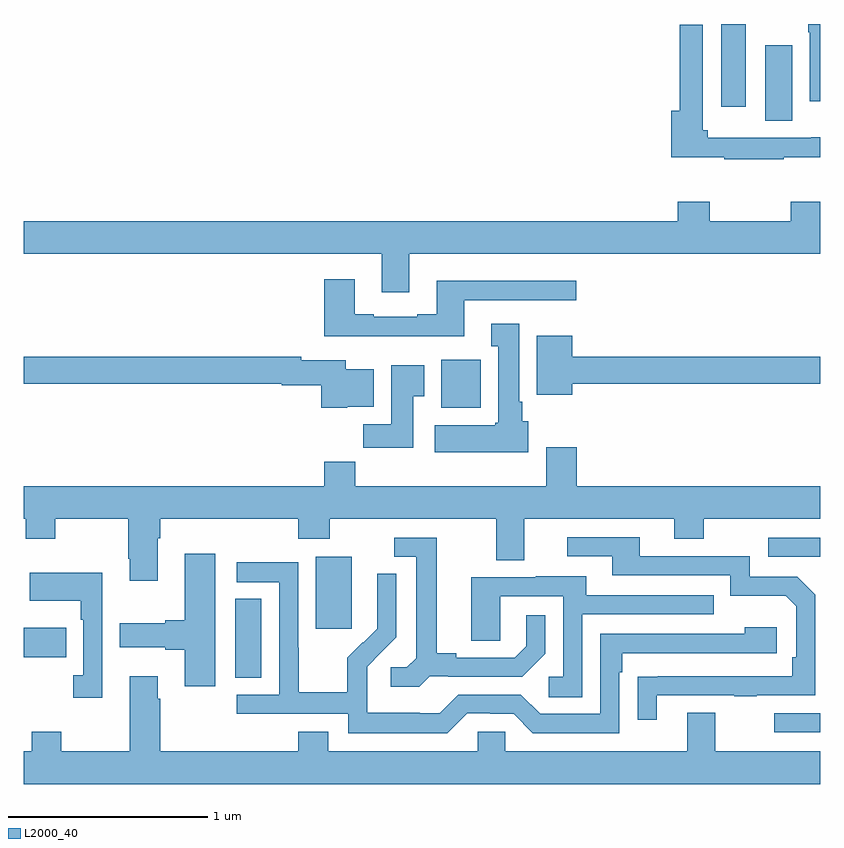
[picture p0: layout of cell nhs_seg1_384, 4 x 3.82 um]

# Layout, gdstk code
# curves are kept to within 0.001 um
import gdstk
lib = gdstk.Library(unit=1e-6, precision=1e-09)
def R(c, l, rs):  # rectangles x0, y0, x1, y1
    for r in rs: c.add(gdstk.rectangle(r[:2], r[2:], *l))
def P(c, l, *ps):  # polygons
    for p in ps: c.add(gdstk.Polygon(p, *l))
L2000_40 = (2000, 40)

nhs_seg1_384 = lib.new_cell('nhs_seg1_384')
R(nhs_seg1_384, L2000_40, [(134.769,570.639,135,570.735), (132.062,570.913,132.193,571.31), (131,571.018,131.213,571.165), (132.467,571.161,132.646,571.522), (134.739,571.521,135,571.617), (133.097,572.27,133.294,572.512), (134.726,573.712,134.86,574.093), (134.504,573.783,134.626,574.199)])
P(nhs_seg1_384, L2000_40, [(135,574.199),(134.941,574.199),(134.941,574.157),(134.948,574.157),(134.948,573.81),(135,573.81)],
  [(134.819,573.529),(135,573.529),(135,573.629),(134.956,573.629),(134.956,573.627),(134.435,573.627),(134.435,573.666),(134.412,573.666),(134.412,574.195),(134.296,574.195),(134.296,573.763),(134.252,573.763),(134.252,573.529),(134.518,573.529),(134.518,573.519),(134.819,573.519)],
  [(132.937,573.044),(135,573.044),(135,573.307),(134.854,573.307),(134.854,573.208),(134.445,573.208),(134.445,573.307),(134.285,573.307),(134.285,573.208),(131,573.208),(131,573.044),(132.797,573.044),(132.797,572.85),(132.937,572.85)],
  [(133.213,572.811),(133.774,572.811),(133.774,572.908),(133.073,572.908),(133.073,572.74),(132.977,572.74),(132.977,572.727),(132.757,572.727),(132.757,572.74),(132.661,572.74),(132.661,572.917),(132.509,572.917),(132.509,572.63),(133.213,572.63)],
  [(133.534,572.202),(133.504,572.202),(133.504,572.302),(133.489,572.302),(133.489,572.692),(133.349,572.692),(133.349,572.579),(133.382,572.579),(133.382,572.196),(133.369,572.196),(133.369,572.182),(133.065,572.182),(133.065,572.048),(133.534,572.048)],
  [(133.756,572.392),(135,572.392),(135,572.528),(133.756,572.528),(133.756,572.632),(133.577,572.632),(133.577,572.336),(133.756,572.336)],
  [(132.624,572.276),(132.757,572.276),(132.757,572.464),(132.616,572.464),(132.616,572.509),(132.394,572.509),(132.394,572.528),(131,572.528),(131,572.392),(132.294,572.392),(132.294,572.384),(132.494,572.384),(132.494,572.27),(132.624,572.27)],
  [(132.955,572.329),(133.012,572.329),(133.012,572.485),(132.845,572.485),(132.845,572.188),(132.706,572.188),(132.706,572.07),(132.955,572.07)],
  [(131.671,571.616),(131.684,571.616),(131.684,571.712),(132.377,571.712),(132.377,571.613),(132.537,571.613),(132.537,571.712),(133.373,571.712),(133.373,571.504),(133.513,571.504),(133.513,571.712),(134.267,571.712),(134.267,571.613),(134.415,571.613),(134.415,571.712),(135,571.712),(135,571.876),(133.778,571.876),(133.778,572.071),(133.625,572.071),(133.625,571.876),(132.665,571.876),(132.665,572),(132.509,572),(132.509,571.876),(131,571.876),(131,571.712),(131.01,571.712),(131.01,571.613),(131.157,571.613),(131.157,571.712),(131.524,571.712),(131.524,571.513),(131.531,571.513),(131.531,571.401),(131.671,571.401)],
  [(134.179,570.825),(134.569,570.825),(134.569,570.82),(134.681,570.82),(134.681,570.825),(134.976,570.825),(134.976,571.332),(134.886,571.422),(134.646,571.422),(134.646,571.524),(134.095,571.524),(134.095,571.62),(133.731,571.62),(133.731,571.524),(133.955,571.524),(133.955,571.428),(134.55,571.428),(134.55,571.325),(134.827,571.325),(134.88,571.272),(134.88,571.018),(134.86,571.018),(134.86,570.921),(134.083,570.92),(134.083,570.702),(134.179,570.702)],
  [(133.038,570.921),(133.132,570.921),(133.132,570.918),(133.504,570.918),(133.62,571.034),(133.62,571.228),(133.523,571.228),(133.523,571.071),(133.466,571.014),(133.171,571.014),(133.171,571.037),(133.075,571.037),(133.075,571.617),(132.861,571.617),(132.861,571.521),(132.971,571.521),(132.971,571.013),(132.924,570.966),(132.843,570.966),(132.843,570.869),(132.986,570.869)],
  [(131.962,571.537),(131.807,571.537),(131.807,571.202),(131.711,571.202),(131.711,571.189),(131.481,571.189),(131.481,571.067),(131.711,571.067),(131.711,571.055),(131.807,571.055),(131.807,570.87),(131.962,570.87)],
  [(133.227,570.735),(133.343,570.735),(133.343,570.732),(133.461,570.732),(133.557,570.636),(133.992,570.636),(133.992,570.941),(134.005,570.941),(134.005,571.038),(134.782,571.038),(134.782,571.168),(134.621,571.168),(134.621,571.134),(133.896,571.134),(133.896,570.732),(133.593,570.732),(133.497,570.828),(133.182,570.828),(133.089,570.735),(132.989,570.735),(132.989,570.739),(132.726,570.739),(132.726,570.873),(132.724,570.873),(132.724,570.97),(132.87,571.118),(132.87,571.436),(132.774,571.436),(132.774,571.282),(132.776,571.282),(132.776,571.16),(132.705,571.089),(132.702,571.092),(132.625,571.015),(132.625,570.841),(132.381,570.841),(132.381,571.064),(132.378,571.064),(132.378,571.494),(132.069,571.494),(132.069,571.395),(132.282,571.395),(132.282,570.828),(132.069,570.828),(132.069,570.732),(132.63,570.732),(132.63,570.635),(133.127,570.635)],
  [(131.394,571.441),(131.029,571.441),(131.029,571.301),(131.286,571.301),(131.286,571.205),(131.298,571.205),(131.298,570.926),(131.247,570.926),(131.247,570.813),(131.394,570.813)],
  [(133.806,571.233),(134.465,571.233),(134.465,571.329),(133.825,571.329),(133.825,571.423),(133.571,571.423),(133.571,571.419),(133.247,571.419),(133.247,571.099),(133.392,571.099),(133.392,571.323),(133.71,571.323),(133.71,570.918),(133.638,570.918),(133.638,570.817),(133.806,570.817)],
  [(135,570.544),(134.473,570.544),(134.473,570.739),(134.333,570.739),(134.333,570.544),(133.419,570.544),(133.419,570.642),(133.281,570.642),(133.281,570.544),(132.529,570.544),(132.529,570.643),(132.377,570.643),(132.377,570.544),(131.684,570.544),(131.684,570.809),(131.671,570.809),(131.671,570.922),(131.531,570.922),(131.531,570.544),(131.187,570.544),(131.187,570.643),(131.039,570.643),(131.039,570.544),(131,570.544),(131,570.38),(135,570.38)])

lib.write_gds('nhs_seg1_384.gds')
